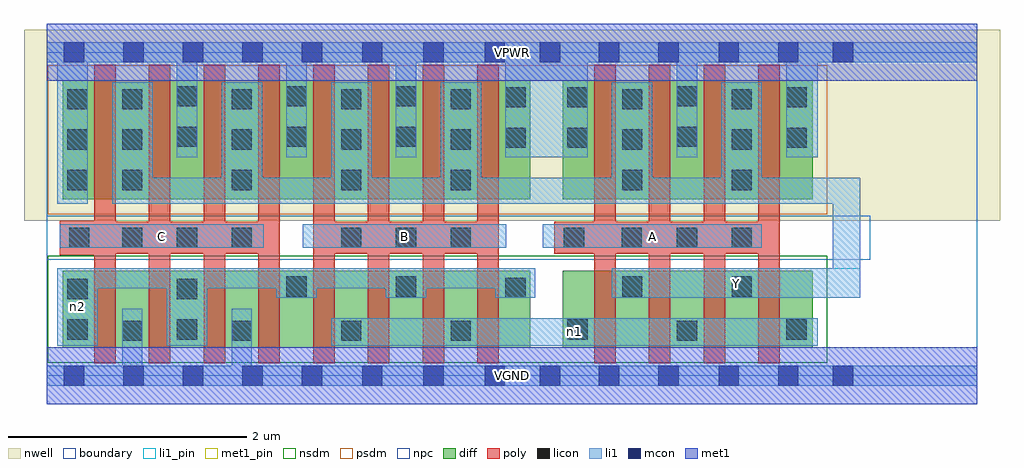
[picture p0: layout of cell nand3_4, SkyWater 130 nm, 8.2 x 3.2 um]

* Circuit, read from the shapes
.subckt nand3_4 A B C VGND VPWR Y n1 n2
XM1 VGND C n2 VSUBS sky130_fd_pr__nfet_01v8 w=0.65 l=0.18 m=4
XM2 n1 B n2 VSUBS sky130_fd_pr__nfet_01v8 w=0.65 l=0.18 m=4
XM3 Y A n1 VSUBS sky130_fd_pr__nfet_01v8 w=0.65 l=0.18 m=4
XM4 Y C VPWR n3 sky130_fd_pr__pfet_01v8 w=1 l=0.18 m=4
XM5 Y B VPWR n3 sky130_fd_pr__pfet_01v8 w=1 l=0.18 m=4
XM6 Y A VPWR n3 sky130_fd_pr__pfet_01v8 w=1 l=0.18 m=4
.ends

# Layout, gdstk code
import gdstk
lib = gdstk.Library(unit=1e-6, precision=1e-09)
def R(c, l, rs):  # rectangles x0, y0, x1, y1
    for r in rs: c.add(gdstk.rectangle(r[:2], r[2:], *l))
def A(c, l, x, y, w, h, nx, ny, dx, dy):  # array of equal rectangles
    R(c, l, [(x+i*dx, y+j*dy, x+i*dx+w, y+j*dy+h) for i in range(nx) for j in range(ny)])
nwell = (64, 20)
diff = (65, 20)
poly = (66, 20)
licon = (66, 44)
li1_pin = (67, 16)
li1 = (67, 20)
mcon = (67, 44)
met1_pin = (68, 16)
met1 = (68, 20)
nsdm = (93, 44)
psdm = (94, 20)
npc = (95, 20)
boundary = (235, 4)

nand3_4 = lib.new_cell('nand3_4')
R(nand3_4, nwell, [(-0.19,1.305,8.01,2.91), (0,1.305,7.82,2.91)])
R(nand3_4, diff, [(0.135,0.235,4.065,0.885), (4.335,0.235,6.435,0.885), (0.135,1.485,4.065,2.485), (4.335,1.485,6.435,2.485)])
A(nand3_4, poly, 0.4, 0.105, 0.18, 2.51, 8, 1, 0.46, 0)
A(nand3_4, poly, 4.6, 0.105, 0.18, 2.51, 4, 1, 0.46, 0)
R(nand3_4, poly, [(0.11,1.015,0.58,1.305), (0.11,1.025,1.96,1.295), (2.24,1.025,3.8,1.295), (4.265,1.025,6.16,1.295)])
A(nand3_4, licon, 0.635, 0.295, 0.17, 0.17, 4, 2, 0.92, 1.265)
A(nand3_4, licon, 0.635, 1.075, 0.17, 0.17, 3, 1, 0.46, 0)
A(nand3_4, licon, 2.475, 1.075, 0.17, 0.17, 3, 1, 0.46, 0)
A(nand3_4, licon, 0.175, 1.56, 0.17, 0.17, 1, 3, 0, 0.34)
A(nand3_4, licon, 4.835, 1.56, 0.17, 0.17, 1, 3, 0, 0.34)
A(nand3_4, licon, 5.755, 1.56, 0.17, 0.17, 1, 3, 0, 0.34)
A(nand3_4, licon, 0.635, 1.9, 0.17, 0.17, 4, 2, 0.92, 0.34)
A(nand3_4, licon, 1.095, 1.925, 0.17, 0.17, 3, 2, 0.92, 0.34)
R(nand3_4, licon, [(5.295,0.295,5.465,0.465), (0.175,0.305,0.345,0.475), (1.095,0.305,1.265,0.475), (4.375,0.305,4.545,0.475), (6.215,0.305,6.385,0.475), (0.175,0.645,0.345,0.815), (1.095,0.645,1.265,0.815), (3.855,0.655,4.025,0.825), (2.015,0.665,2.185,0.835), (2.935,0.665,3.105,0.835), (4.835,0.665,5.005,0.835), (5.755,0.665,5.925,0.835), (0.19,1.075,0.36,1.245), (4.345,1.075,4.515,1.245), (4.83,1.075,5,1.245), (5.295,1.075,5.465,1.245), (5.755,1.075,5.925,1.245), (3.855,1.915,4.025,2.085), (4.375,1.915,4.545,2.085), (6.215,1.915,6.385,2.085), (5.295,1.925,5.465,2.095), (3.855,2.255,4.025,2.425), (4.375,2.255,4.545,2.425), (6.215,2.255,6.385,2.425), (5.295,2.265,5.465,2.435)])
R(nand3_4, li1_pin, [(4.75,0.655,6.835,0.905), (0.11,1.075,1.825,1.275), (2.15,1.075,3.86,1.275), (4.17,1.075,6.01,1.275)])
A(nand3_4, li1, 0.55, 1.445, 0.34, 1.02, 4, 1, 0.92, 0)
A(nand3_4, li1, 1.095, 1.835, 0.17, 0.97, 3, 1, 0.92, 0)
R(nand3_4, li1, [(0,-0.085,7.82,0.085), (0.635,-0.085,0.805,0.565), (1.555,-0.085,1.725,0.565), (0.09,0.255,0.43,0.905), (1.01,0.255,1.35,0.905), (2.39,0.255,6.48,0.485), (1.93,0.655,2.27,0.905), (2.85,0.655,3.19,0.905), (3.77,0.655,4.105,0.905), (4.75,0.655,6.835,0.905), (6.605,0.655,6.835,1.665), (0.09,0.735,4.105,0.905), (0.11,1.075,1.825,1.275), (2.15,1.075,3.86,1.275), (4.17,1.075,6.01,1.275), (0.09,1.445,0.345,2.805), (0.55,1.445,6.835,1.665), (4.75,1.445,5.09,2.465), (5.67,1.445,6.01,2.465), (3.855,1.835,4.545,2.805), (5.295,1.835,5.465,2.805), (6.215,1.835,6.48,2.805), (0,2.635,7.82,2.805)])
A(nand3_4, mcon, 0.145, -0.085, 0.17, 0.17, 5, 2, 0.5, 2.72)
A(nand3_4, mcon, 2.65, -0.085, 0.17, 0.17, 3, 2, 0.515, 2.72)
R(nand3_4, mcon, [(4.145,-0.085,4.315,0.085), (4.64,-0.085,4.81,0.085), (5.14,-0.085,5.31,0.085), (5.645,-0.085,5.815,0.085), (6.145,-0.085,6.315,0.085), (6.605,-0.085,6.775,0.085), (4.145,2.635,4.315,2.805), (4.64,2.635,4.81,2.805), (5.14,2.635,5.31,2.805), (5.645,2.635,5.815,2.805), (6.145,2.635,6.315,2.805), (6.605,2.635,6.775,2.805)])
R(nand3_4, met1_pin, [(0,-0.24,7.82,0.24), (0,2.48,7.82,2.96)])
R(nand3_4, met1, [(0,-0.24,7.82,0.24), (0,2.48,7.82,2.96)])
R(nand3_4, nsdm, [(0.01,0.11,6.56,1.01)])
R(nand3_4, psdm, [(0.01,1.36,6.56,2.61)])
R(nand3_4, npc, [(0,0.975,6.92,1.345)])
R(nand3_4, boundary, [(0,0,7.82,2.72)])
nand3_4.add(gdstk.Label('A', (5.09,1.175), layer=67, texttype=5))
nand3_4.add(gdstk.Label('B', (3.005,1.175), layer=67, texttype=5))
nand3_4.add(gdstk.Label('C', (0.967,1.175), layer=67, texttype=5))
nand3_4.add(gdstk.Label('Y', (5.792,0.78), layer=67, texttype=5))
nand3_4.add(gdstk.Label('n1', (4.435,0.37), layer=67, texttype=5))
nand3_4.add(gdstk.Label('n2', (0.26,0.58), layer=67, texttype=5))
nand3_4.add(gdstk.Label('VPWR', (3.91,2.72), layer=68, texttype=5))
nand3_4.add(gdstk.Label('VGND', (3.91,0), layer=68, texttype=5))
nand3_4.add(gdstk.Label('A', (5.09,1.175), layer=67, texttype=16))
nand3_4.add(gdstk.Label('B', (3.005,1.175), layer=67, texttype=16))
nand3_4.add(gdstk.Label('C', (0.967,1.175), layer=67, texttype=16))
nand3_4.add(gdstk.Label('Y', (5.792,0.78), layer=67, texttype=16))
nand3_4.add(gdstk.Label('VPWR', (3.91,2.72), layer=68, texttype=16))
nand3_4.add(gdstk.Label('VGND', (3.91,0), layer=68, texttype=16))

lib.write_gds('nand3_4.gds')
